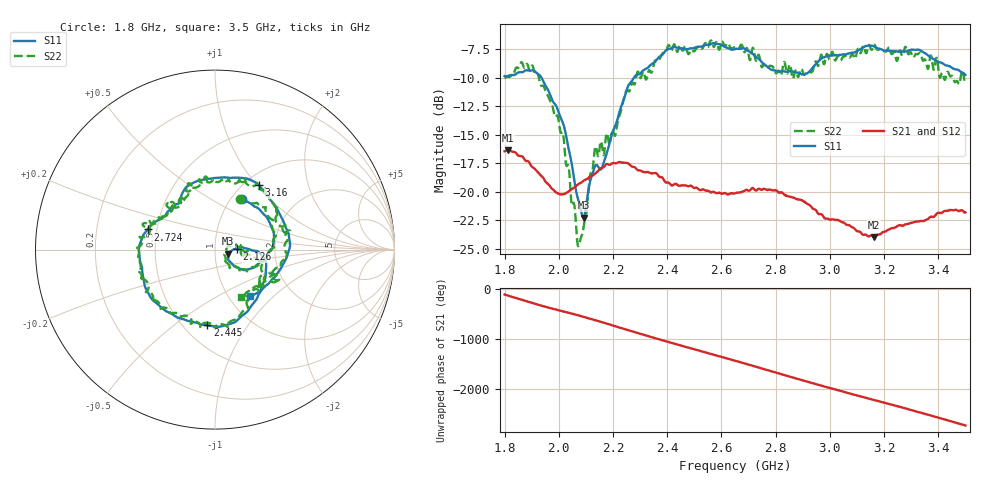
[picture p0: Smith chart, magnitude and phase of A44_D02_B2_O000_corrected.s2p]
! Created with skrf 1.9.0 (http://scikit-rf.org).
# Hz S RI R 50.0
!freq ReS11 ImS11 ReS21 ImS21 ReS12 ImS12 ReS22 ImS22
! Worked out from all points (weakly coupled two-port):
!   1601 points, 1.8 GHz to 3.5 GHz, reference 50 ohm
!   highest |S21| = -16.39 dB at 1.812 GHz (marker M1); lowest = -24.0 dB at 3.162 GHz (marker M2)
!   lowest |S11| = -22.3 dB at 2.091 GHz (marker M3), VSWR 1.17, Z = 57.9 - j2.6 ohm
!   |S11| at or under -10 dB: 1.936 GHz to 2.277 GHz (341.5 MHz wide, 16.2 % of centre)
!   |S22| runs from -24.8 to -6.7 dB; largest |S21 - S12| = 0.0025
!   S11 on the Smith chart (normalised r, x): 1.8 GHz: 1.12, +0.71; 2.126 GHz: 1.28, +0.01; 2.445 GHz: 0.65, -0.67; 2.724 GHz: 0.44, +0.12; 3.16 GHz: 1.16, +1.03; 3.5 GHz: 1.25, -0.73
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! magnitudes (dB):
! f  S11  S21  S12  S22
! 1.8 GHz  -9.9  -16.5  -16.5  -10.1
! 1.812 GHz  -9.9  -16.4  -16.4  -9.9
! 1.902 GHz  -9.4  -17.8  -17.8  -9.0
! 1.967 GHz  -11.5  -19.5  -19.6  -12.0
! 2.02 GHz  -14.3  -20.2  -20.2  -15.8
! 2.07 GHz  -20.6  -19.4  -19.4  -24.7
! 2.084 GHz  -21.9  -19.2  -19.1  -23.9
! 2.091 GHz  -22.3  -19.0  -19.1  -23.1
! 2.126 GHz  -18.3  -18.6  -18.6  -17.8
! 2.162 GHz  -17.7  -17.9  -17.8  -16.5
! 2.21 GHz  -14.1  -17.5  -17.5  -14.9
! 2.259 GHz  -10.6  -17.6  -17.6  -11.2
! 2.367 GHz  -8.3  -18.6  -18.6  -8.6
! 2.445 GHz  -7.4  -19.5  -19.5  -7.2
! 2.65 GHz  -7.5  -20.1  -20.1  -7.3
! 2.724 GHz  -8.1  -19.9  -19.8  -8.3
! 2.813 GHz  -9.5  -20.1  -20.0  -9.4
! 2.934 GHz  -9.2  -21.4  -21.4  -9.5
! 3.16 GHz  -7.2  -24.0  -23.9  -7.3
! 3.162 GHz  -7.3  -24.0  -23.9  -7.2
! 3.217 GHz  -7.6  -23.3  -23.3  -7.4
! 3.5 GHz  -9.8  -21.8  -21.8  -10.3
